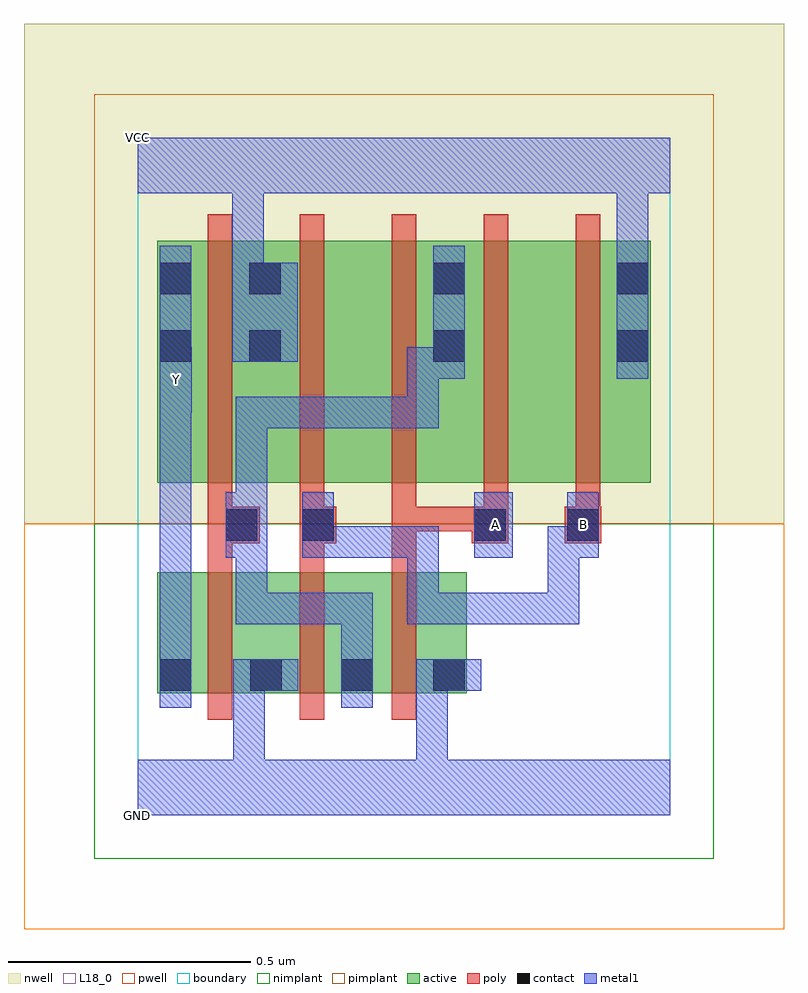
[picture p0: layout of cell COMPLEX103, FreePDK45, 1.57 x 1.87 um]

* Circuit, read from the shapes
.subckt COMPLEX103 A B GND VCC Y
M1 GND n1 Y VSUBS nfet w=0.25u l=0.05u
M2 n1 B GND VSUBS nfet w=0.25u l=0.05u
M3 GND A n1 VSUBS nfet w=0.25u l=0.05u
M4 VCC n1 Y n2 pfet w=0.5u l=0.05u
M5 n3 B VCC n2 pfet w=0.5u l=0.05u
M6 n1 A n3 n2 pfet w=0.5u l=0.05u
M7 n4 A n1 n2 pfet w=0.5u l=0.05u
M8 VCC B n4 n2 pfet w=0.5u l=0.05u
.ends

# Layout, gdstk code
import gdstk
lib = gdstk.Library(unit=1e-6, precision=1e-09)
def R(c, l, rs):  # rectangles x0, y0, x1, y1
    for r in rs: c.add(gdstk.rectangle(r[:2], r[2:], *l))
def A(c, l, x, y, w, h, nx, ny, dx, dy):  # array of equal rectangles
    R(c, l, [(x+i*dx, y+j*dy, x+i*dx+w, y+j*dy+h) for i in range(nx) for j in range(ny)])
active = (1, 0)
pwell = (2, 0)
nwell = (3, 0)
nimplant = (4, 0)
pimplant = (5, 0)
poly = (9, 0)
contact = (10, 0)
metal1 = (11, 0)
L18_0 = (18, 0)
boundary = (235, 0)

complex103 = lib.new_cell('COMPLEX103')
A(complex103, active, 0.225, 0.687, 0.075, 0.5, 3, 1, 0.38, 0)
R(complex103, active, [(0.04,0.252,0.115,0.502), (0.04,0.252,0.302,0.502), (0.227,0.252,0.302,0.342), (0.227,0.252,0.49,0.502), (0.415,0.252,0.68,0.502), (0.415,0.252,0.49,0.342), (0.605,0.252,0.68,0.502), (0.04,0.687,0.3,1.187), (0.04,0.687,0.115,1.165), (0.225,0.687,0.455,1.187), (0.455,0.687,0.68,1.187), (0.605,0.687,0.835,1.187), (0.835,0.687,1.06,1.187)])
R(complex103, pwell, [(-0.235,-0.235,1.335,0.602)])
R(complex103, nwell, [(-0.235,0.602,1.335,1.635)])
R(complex103, nimplant, [(-0.09,-0.09,1.19,0.602)])
R(complex103, pimplant, [(-0.09,0.602,1.19,1.49)])
A(complex103, poly, 0.145, 0.197, 0.05, 0.36, 3, 1, 0.19, 0)
A(complex103, poly, 0.145, 0.587, 0.05, 0.095, 5, 1, 0.19, 0)
A(complex103, poly, 0.145, 0.632, 0.05, 0.61, 5, 1, 0.19, 0)
R(complex103, poly, [(0.145,0.507,0.195,0.612), (0.335,0.507,0.385,0.612), (0.525,0.507,0.575,0.637), (0.145,0.562,0.252,0.637), (0.335,0.562,0.41,0.637), (0.69,0.562,0.765,0.637), (0.882,0.562,0.957,0.637), (0.525,0.587,0.74,0.637), (0.525,0.587,0.575,0.637), (0.525,0.587,0.575,0.637), (0.525,0.587,0.575,0.637)])
A(complex103, contact, 0.23, 0.937, 0.065, 0.065, 3, 2, 0.38, 0.14)
R(complex103, contact, [(0.045,0.257,0.11,0.322), (0.232,0.257,0.297,0.322), (0.42,0.257,0.485,0.322), (0.61,0.257,0.675,0.322), (0.182,0.567,0.247,0.632), (0.34,0.567,0.405,0.632), (0.695,0.567,0.76,0.632), (0.887,0.567,0.952,0.632), (0.045,0.937,0.11,1.002), (0.045,1.077,0.11,1.142)])
R(complex103, metal1, [(0,0,1.1,0.115), (0.197,0.05,0.262,0.322), (0.575,0.05,0.64,0.115), (0.575,0.05,0.64,0.115), (0.575,0.05,0.64,0.322), (0.045,0.222,0.11,0.357), (0.42,0.222,0.485,0.357), (0.197,0.257,0.262,0.322), (0.197,0.257,0.262,0.322), (0.197,0.257,0.262,0.322), (0.197,0.257,0.262,0.322), (0.197,0.257,0.332,0.322), (0.575,0.257,0.64,0.322), (0.575,0.257,0.64,0.322), (0.575,0.257,0.71,0.322), (0.045,0.292,0.11,0.897), (0.42,0.292,0.485,0.357), (0.42,0.292,0.485,0.46), (0.202,0.395,0.267,0.46), (0.202,0.395,0.267,0.597), (0.202,0.395,0.485,0.46), (0.557,0.395,0.622,0.46), (0.557,0.395,0.622,0.597), (0.557,0.395,0.815,0.46), (0.75,0.395,0.815,0.46), (0.75,0.395,0.912,0.46), (0.847,0.395,0.912,0.46), (0.847,0.395,0.912,0.597), (0.182,0.532,0.247,0.667), (0.182,0.532,0.267,0.597), (0.202,0.532,0.267,0.597), (0.202,0.532,0.267,0.865), (0.34,0.532,0.405,0.597), (0.34,0.532,0.405,0.597), (0.34,0.532,0.405,0.667), (0.34,0.532,0.622,0.597), (0.557,0.532,0.622,0.597), (0.557,0.532,0.622,0.597), (0.557,0.532,0.622,0.597), (0.695,0.532,0.775,0.667), (0.847,0.532,0.912,0.597), (0.847,0.532,0.952,0.597), (0.887,0.532,0.952,0.667), (0.202,0.8,0.267,0.865), (0.202,0.8,0.405,0.865), (0.34,0.8,0.405,0.865), (0.34,0.8,0.405,0.865), (0.34,0.8,0.405,0.865), (0.34,0.8,0.622,0.865), (0.557,0.8,0.622,0.967), (0.045,0.832,0.112,0.967), (0.045,0.902,0.11,0.967), (0.045,0.902,0.11,1.177), (0.557,0.902,0.675,0.967), (0.61,0.902,0.675,1.177), (0.99,0.902,1.055,1.177), (0.195,0.937,0.33,1.142), (0.195,1.077,0.26,1.142), (0.195,1.077,0.26,1.142), (0.195,1.077,0.26,1.35), (0.99,1.112,1.055,1.35), (0,1.285,1.1,1.4), (0.99,1.285,1.055,1.35), (0.99,1.285,1.055,1.35)])
R(complex103, L18_0, [(0,0,1.1,0.115), (0.197,0.05,0.262,0.322), (0.575,0.05,0.64,0.115), (0.575,0.05,0.64,0.115), (0.575,0.05,0.64,0.322), (0.045,0.222,0.11,0.357), (0.197,0.257,0.262,0.322), (0.197,0.257,0.262,0.322), (0.197,0.257,0.262,0.322), (0.197,0.257,0.262,0.322), (0.197,0.257,0.332,0.322), (0.575,0.257,0.64,0.322), (0.575,0.257,0.64,0.322), (0.575,0.257,0.71,0.322), (0.045,0.292,0.11,0.897), (0.557,0.395,0.622,0.46), (0.557,0.395,0.622,0.597), (0.557,0.395,0.815,0.46), (0.75,0.395,0.815,0.46), (0.75,0.395,0.912,0.46), (0.847,0.395,0.912,0.46), (0.847,0.395,0.912,0.597), (0.34,0.532,0.405,0.667), (0.34,0.532,0.405,0.597), (0.34,0.532,0.405,0.597), (0.34,0.532,0.622,0.597), (0.557,0.532,0.622,0.597), (0.557,0.532,0.622,0.597), (0.557,0.532,0.622,0.597), (0.695,0.532,0.775,0.667), (0.847,0.532,0.912,0.597), (0.847,0.532,0.952,0.597), (0.887,0.532,0.952,0.667), (0.707,0.567,0.772,0.632), (0.887,0.567,0.952,0.632), (0.045,0.832,0.112,0.967), (0.047,0.867,0.112,0.932), (0.045,0.902,0.11,1.177), (0.045,0.902,0.11,0.967), (0.99,0.902,1.055,1.177), (0.195,0.937,0.33,1.142), (0.195,1.077,0.26,1.142), (0.195,1.077,0.26,1.142), (0.195,1.077,0.26,1.35), (0.99,1.112,1.055,1.35), (0,1.285,1.1,1.4), (0.99,1.285,1.055,1.35), (0.99,1.285,1.055,1.35)])
R(complex103, boundary, [(0,0,1.1,1.4)])
complex103.add(gdstk.Label('A', (0.74,0.6), layer=11, texttype=0))
complex103.add(gdstk.Label('B', (0.92,0.6), layer=11, texttype=0))
complex103.add(gdstk.Label('Y', (0.08,0.9), layer=11, texttype=0))
complex103.add(gdstk.Label('VCC', (0,1.4), layer=11, texttype=0))
complex103.add(gdstk.Label('GND', (0,0), layer=11, texttype=0))

lib.write_gds('COMPLEX103.gds')
